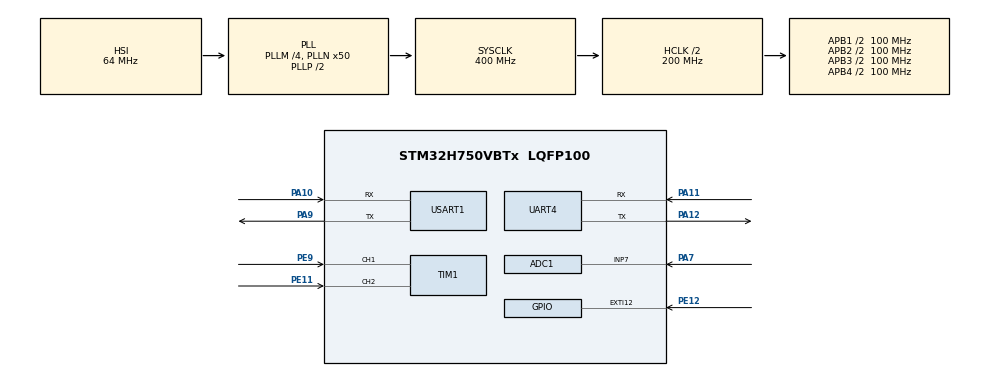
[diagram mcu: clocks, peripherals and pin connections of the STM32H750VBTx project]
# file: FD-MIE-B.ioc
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ADC1.Channel-3\#ChannelRegularConversion=ADC_CHANNEL_7
ADC1.ContinuousConvMode=DISABLE
ADC1.NbrOfConversionFlag=1
ADC1.OffsetNumber-3\#ChannelRegularConversion=ADC_OFFSET_NONE
ADC1.OffsetSignedSaturation-3\#ChannelRegularConversion=DISABLE
ADC1.Rank-3\#ChannelRegularConversion=1
ADC1.SamplingTime-3\#ChannelRegularConversion=ADC_SAMPLETIME_1CYCLE_5
ADC1.master=1
Dma.ADC1.0.Direction=DMA_PERIPH_TO_MEMORY
Dma.ADC1.0.EventEnable=DISABLE
Dma.ADC1.0.FIFOMode=DMA_FIFOMODE_DISABLE
Dma.ADC1.0.Instance=DMA1_Stream0
Dma.ADC1.0.MemDataAlignment=DMA_MDATAALIGN_HALFWORD
Dma.ADC1.0.MemInc=DMA_MINC_ENABLE
Dma.ADC1.0.Mode=DMA_NORMAL
Dma.ADC1.0.PeriphDataAlignment=DMA_PDATAALIGN_HALFWORD
Dma.ADC1.0.PeriphInc=DMA_PINC_DISABLE
Dma.ADC1.0.Polarity=HAL_DMAMUX_REQ_GEN_RISING
Dma.ADC1.0.Priority=DMA_PRIORITY_LOW
Dma.ADC1.0.RequestNumber=1
Dma.ADC1.0.SignalID=NONE
Dma.ADC1.0.SyncEnable=DISABLE
Dma.ADC1.0.SyncPolarity=HAL_DMAMUX_SYNC_NO_EVENT
Dma.ADC1.0.SyncRequestNumber=1
Dma.ADC1.0.SyncSignalID=NONE
Dma.Request0=ADC1
Dma.Request1=TIM2_UP
Dma.Request2=USART1_TX
Dma.TIM2_UP.1.Direction=DMA_PERIPH_TO_MEMORY
Dma.TIM2_UP.1.EventEnable=DISABLE
Dma.TIM2_UP.1.FIFOMode=DMA_FIFOMODE_DISABLE
Dma.TIM2_UP.1.Instance=DMA1_Stream1
Dma.TIM2_UP.1.MemDataAlignment=DMA_MDATAALIGN_WORD
Dma.TIM2_UP.1.MemInc=DMA_MINC_ENABLE
Dma.TIM2_UP.1.Mode=DMA_CIRCULAR
Dma.TIM2_UP.1.PeriphDataAlignment=DMA_PDATAALIGN_WORD
Dma.TIM2_UP.1.PeriphInc=DMA_PINC_DISABLE
Dma.TIM2_UP.1.Polarity=HAL_DMAMUX_REQ_GEN_RISING
Dma.TIM2_UP.1.Priority=DMA_PRIORITY_LOW
Dma.TIM2_UP.1.RequestNumber=1
Dma.TIM2_UP.1.SignalID=NONE
Dma.TIM2_UP.1.SyncEnable=DISABLE
Dma.TIM2_UP.1.SyncPolarity=HAL_DMAMUX_SYNC_NO_EVENT
Dma.TIM2_UP.1.SyncRequestNumber=1
Dma.TIM2_UP.1.SyncSignalID=NONE
Dma.USART1_TX.2.Direction=DMA_MEMORY_TO_PERIPH
Dma.USART1_TX.2.EventEnable=DISABLE
Dma.USART1_TX.2.FIFOMode=DMA_FIFOMODE_DISABLE
Dma.USART1_TX.2.Instance=DMA1_Stream2
Dma.USART1_TX.2.MemDataAlignment=DMA_MDATAALIGN_BYTE
Dma.USART1_TX.2.MemInc=DMA_MINC_ENABLE
Dma.USART1_TX.2.Mode=DMA_NORMAL
Dma.USART1_TX.2.PeriphDataAlignment=DMA_PDATAALIGN_BYTE
Dma.USART1_TX.2.PeriphInc=DMA_PINC_DISABLE
Dma.USART1_TX.2.Polarity=HAL_DMAMUX_REQ_GEN_RISING
Dma.USART1_TX.2.Priority=DMA_PRIORITY_LOW
Dma.USART1_TX.2.RequestNumber=1
Dma.USART1_TX.2.SignalID=NONE
Dma.USART1_TX.2.SyncEnable=DISABLE
Dma.USART1_TX.2.SyncPolarity=HAL_DMAMUX_SYNC_NO_EVENT
Dma.USART1_TX.2.SyncRequestNumber=1
Dma.USART1_TX.2.SyncSignalID=NONE
Mcu.Family=STM32H7
Mcu.Name=STM32H750VBTx
Mcu.Package=LQFP100
NVIC.DMA1_Stream0_IRQn=true\:0\:0\:false\:false\:true\:false\:true\:true
NVIC.DMA1_Stream1_IRQn=true\:0\:0\:false\:false\:true\:false\:true\:true
NVIC.DMA1_Stream2_IRQn=true\:0\:0\:false\:false\:true\:false\:true\:true
NVIC.EXTI15_10_IRQn=true\:0\:0\:false\:false\:true\:true\:true\:true
NVIC.PriorityGroup=NVIC_PRIORITYGROUP_4
NVIC.TIM2_IRQn=true\:1\:0\:true\:false\:true\:true\:true\:true
NVIC.USART1_IRQn=true\:0\:0\:false\:false\:true\:true\:true\:true
PA10.Mode=Asynchronous
PA10.Signal=USART1_RX
PA11.Mode=Asynchronous
PA11.Signal=UART4_RX
PA12.Mode=Asynchronous
PA12.Signal=UART4_TX
PA7.Signal=ADCx_INP7
PA9.Mode=Asynchronous
PA9.Signal=USART1_TX
PE11.Signal=S_TIM1_CH2
PE12.GPIO_ModeDefaultEXTI=GPIO_MODE_IT_FALLING
PE12.GPIO_PuPd=GPIO_PULLUP
PE12.Signal=GPXTI12
PE9.Signal=S_TIM1_CH1
PH0-OSC_IN\ (PH0).Mode=HSE-External-Oscillator
PH0-OSC_IN\ (PH0).Signal=RCC_OSC_IN
PH1-OSC_OUT\ (PH1).Mode=HSE-External-Oscillator
PH1-OSC_OUT\ (PH1).Signal=RCC_OSC_OUT
ProjectManager.HeapSize=0x200
ProjectManager.StackSize=0x400
ProjectManager.TargetToolchain=MDK-ARM V5.32
RCC.ADCFreq_Value=75000000
RCC.APB1Freq_Value=100000000
RCC.APB2Freq_Value=100000000
RCC.APB3Freq_Value=100000000
RCC.APB4Freq_Value=100000000
RCC.CortexFreq_Value=400000000
RCC.D1PPRE=RCC_APB3_DIV2
RCC.D2PPRE1=RCC_APB1_DIV2
RCC.D2PPRE2=RCC_APB2_DIV2
RCC.D3PPRE=RCC_APB4_DIV2
RCC.DIVM1=4
RCC.DIVM2=4
RCC.DIVN1=50
RCC.DIVN2=9
RCC.HCLKFreq_Value=200000000
RCC.HPRE=RCC_HCLK_DIV2
RCC.PLL2FRACN=3072
RCC.PLL3FRACN=0
RCC.PLLFRACN=0
RCC.SYSCLKFreq_VALUE=400000000
RCC.SYSCLKSource=RCC_SYSCLKSOURCE_PLLCLK
RCC.USBFreq_Value=400000000
SH.ADCx_INP7.0=ADC1_INP7,IN7-Single-Ended
SH.S_TIM1_CH1.0=TIM1_CH1,Encoder_Interface
SH.S_TIM1_CH2.0=TIM1_CH2,Encoder_Interface
TIM2.Period=1000-1
TIM2.Prescaler=200-1
USART1.VirtualMode-Asynchronous=VM_ASYNC
VP_TIM2_VS_ClockSourceINT.Mode=Internal
board=custom

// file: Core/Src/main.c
/* USER CODE BEGIN Header */
/**
  ******************************************************************************
  * @file           : main.c
  * @brief          : Main program body
  ******************************************************************************
  * @attention
  *
  * Copyright (c) 2025 STMicroelectronics.
  * All rights reserved.
  *
  * This software is licensed under terms that can be found in the LICENSE file
  * in the root directory of this software component.
  * If no LICENSE file comes with this software, it is provided AS-IS.
  *
  ******************************************************************************
  */
/* USER CODE END Header */
#include "main.h"
#include "adc.h"
#include "dma.h"
#include "tim.h"
#include "usart.h"
#include "gpio.h"

/* USER CODE BEGIN Includes */
#include "stdio.h"
#include "function.h"
#include "encoder.h"
#include "gui.h"
/* USER CODE END Includes */

/* USER CODE BEGIN PD */
#define ENCODER_BUFFER_SIZE 256
volatile uint32_t encoder_buffer[ENCODER_BUFFER_SIZE];
volatile uint32_t encoder_buffer_index = 0;
int32_t send_number;
_Bool tim2_flag;
/* USER CODE END PD */

/* USER CODE BEGIN PV */
uint16_t current_count,last_count,adc_value;
_Bool skip=1;
/* USER CODE END PV */

void SystemClock_Config(void);
/* USER CODE BEGIN PFP */
int fputc(int ch, FILE* file)
{
    UART4->TDR = ch & 0xFF;

    while((UART4->ISR & UART_FLAG_TC) == RESET);

    return ch;
}
/* USER CODE END PFP */

int main(void)
{

  /* MCU Configuration--------------------------------------------------------*/

  /* Reset of all peripherals, Initializes the Flash interface and the Systick. */
  HAL_Init();

  /* Configure the system clock */
  SystemClock_Config();

  /* Initialize all configured peripherals */
  MX_GPIO_Init();
  MX_DMA_Init();
  MX_ADC1_Init();
  MX_TIM2_Init();
  MX_UART4_Init();
  MX_USART1_UART_Init();
  MX_TIM1_Init();
  /* USER CODE BEGIN 2 */
	encoder_init();
//	__HAL_TIM_ENABLE_DMA(&htim2, TIM_DMA_UPDATE);
//	HAL_DMA_Start_IT(&hdma_tim2_up,(uint32_t)&TIM1->CNT,(uint32_t)&current_count,2);
	HAL_ADCEx_Calibration_Start(&hadc1,ADC_CALIB_OFFSET_LINEARITY,ADC_SINGLE_ENDED);

	//HAL_TIM_Base_Start_IT(&htim2);
uint16_t x[100], y[100];
    for(int i = 0; i < 100; i++) {
        x[i] = i * 100;  // 0-9900
        y[i] = i * 50;   // 0-4950
    }

  /* USER CODE END 2 */

  /* Infinite loop */
  /* USER CODE BEGIN WHILE */
  while (1)
  {
	//	HAL_UART_Transmit(&huart1, (uint8_t*)"abc", 1, HAL_MAX_DELAY);
		//Send_Coordinate(count[1],voltage[1]);
		send_number=(index_save-index_send+MAX_NUM)%MAX_NUM;
		Send_Coordinates_U16(count,voltage,send_number);
	//renew_screen();
		printf("hello");
//		 Send_Coordinates_U16(x, y, 100);
        HAL_Delay(1000); // ??????
//		if(tim2_flag==1)
//		{
//			tim2_flag=0;
//
//		}
//		HAL_Delay(1);
    /* USER CODE END WHILE */

  }
}

void SystemClock_Config(void)
{
  RCC_OscInitTypeDef RCC_OscInitStruct = {0};
  RCC_ClkInitTypeDef RCC_ClkInitStruct = {0};

  /** Supply configuration update enable
  */
  HAL_PWREx_ConfigSupply(PWR_LDO_SUPPLY);

  /** Configure the main internal regulator output voltage
  */
  __HAL_PWR_VOLTAGESCALING_CONFIG(PWR_REGULATOR_VOLTAGE_SCALE1);

  while(!__HAL_PWR_GET_FLAG(PWR_FLAG_VOSRDY)) {}

  /** Initializes the RCC Oscillators according to the specified parameters
  * in the RCC_OscInitTypeDef structure.
  */
  RCC_OscInitStruct.OscillatorType = RCC_OSCILLATORTYPE_HSI;
  RCC_OscInitStruct.HSIState = RCC_HSI_DIV1;
  RCC_OscInitStruct.HSICalibrationValue = RCC_HSICALIBRATION_DEFAULT;
  RCC_OscInitStruct.PLL.PLLState = RCC_PLL_ON;
  RCC_OscInitStruct.PLL.PLLSource = RCC_PLLSOURCE_HSI;
  RCC_OscInitStruct.PLL.PLLM = 4;
  RCC_OscInitStruct.PLL.PLLN = 50;
  RCC_OscInitStruct.PLL.PLLP = 2;
  RCC_OscInitStruct.PLL.PLLQ = 2;
  RCC_OscInitStruct.PLL.PLLR = 2;
  RCC_OscInitStruct.PLL.PLLRGE = RCC_PLL1VCIRANGE_3;
  RCC_OscInitStruct.PLL.PLLVCOSEL = RCC_PLL1VCOWIDE;
  RCC_OscInitStruct.PLL.PLLFRACN = 0;
  if (HAL_RCC_OscConfig(&RCC_OscInitStruct) != HAL_OK)
  {
    Error_Handler();
  }

  /** Initializes the CPU, AHB and APB buses clocks
  */
  RCC_ClkInitStruct.ClockType = RCC_CLOCKTYPE_HCLK|RCC_CLOCKTYPE_SYSCLK
                              |RCC_CLOCKTYPE_PCLK1|RCC_CLOCKTYPE_PCLK2
                              |RCC_CLOCKTYPE_D3PCLK1|RCC_CLOCKTYPE_D1PCLK1;
  RCC_ClkInitStruct.SYSCLKSource = RCC_SYSCLKSOURCE_PLLCLK;
  RCC_ClkInitStruct.SYSCLKDivider = RCC_SYSCLK_DIV1;
  RCC_ClkInitStruct.AHBCLKDivider = RCC_HCLK_DIV2;
  RCC_ClkInitStruct.APB3CLKDivider = RCC_APB3_DIV2;
  RCC_ClkInitStruct.APB1CLKDivider = RCC_APB1_DIV2;
  RCC_ClkInitStruct.APB2CLKDivider = RCC_APB2_DIV2;
  RCC_ClkInitStruct.APB4CLKDivider = RCC_APB4_DIV2;

  if (HAL_RCC_ClockConfig(&RCC_ClkInitStruct, FLASH_LATENCY_2) != HAL_OK)
  {
    Error_Handler();
  }
}

/* USER CODE BEGIN 4 */
void HAL_TIM_PeriodElapsedCallback(TIM_HandleTypeDef *htim)
{

  if(htim->Instance==htim2.Instance)
	{
			current_count = (int32_t)TIM1->CNT;
			if (current_count != last_count)
			{
				if(skip==1){skip=0;return;};
//				printf("Encoder Count: %d\t", current_count);
				last_count = current_count;
				HAL_ADC_Start(&hadc1);
				adc_value=HAL_ADC_GetValue(&hadc1);
				save_data();
//				printf("value=%d\r\n",adc_value);
		//		printf("add 1,0,%.0f\xff\xff\xff",adc_value/65536.0000*255+128+i);
			//	printf("add 1,0,%d\xff\xff\xff",current_count);
			}
	}

}

//void Process_Encoder_Data(void)
//{
//    static uint32_t last_index = 0;
//    uint32_t current_index = ENCODER_BUFFER_SIZE - hdma_tim1_up.Instance->NDTR;
//
//    if(current_index != last_index)
//    {
//        // ???????
//        uint32_t new_data_count = (current_index > last_index) ?
//                                 (current_index - last_index) :
//                                 (ENCODER_BUFFER_SIZE - last_index + current_index);
//
//        // ?????
//        for(uint32_t i = 0; i < new_data_count; i++)
//        {
//            uint32_t idx = (last_index + i) % ENCODER_BUFFER_SIZE;
//            uint32_t count = encoder_buffer[idx];
//
//            // ???????????????
//            // ...
//        }
//
//        last_index = current_index;
//    }
//}
/* USER CODE END 4 */

void Error_Handler(void)
{
  __disable_irq();
  while (1)
  {
  }
}
